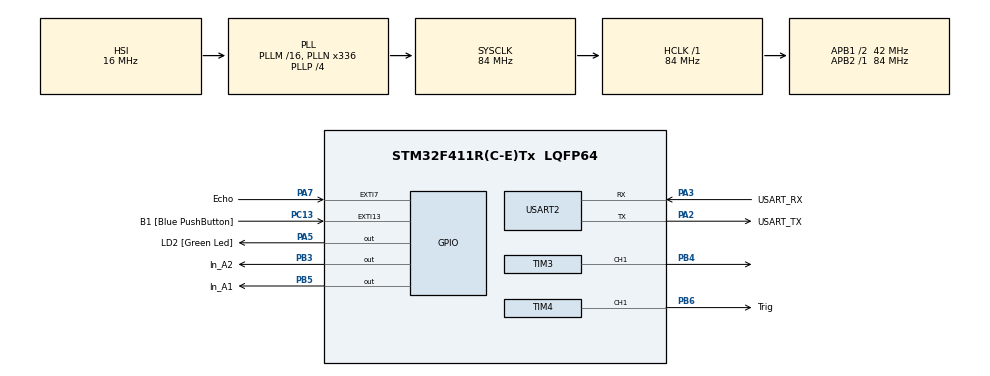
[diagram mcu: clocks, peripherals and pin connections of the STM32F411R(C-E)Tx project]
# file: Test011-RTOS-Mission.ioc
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FREERTOS.BinarySemaphores01=myBinarySem01,Dynamic,NULL
FREERTOS.Tasks01=ctrlMortor,-1,128,ctrlMrt,Default,NULL,Dynamic,NULL,NULL;LD2,-2,128,flashLD2,Default,NULL,Dynamic,NULL,NULL;dispDist,0,512,printDist,Default,NULL,Dynamic,NULL,NULL
FREERTOS.configUSE_NEWLIB_REENTRANT=1
Mcu.Family=STM32F4
Mcu.Name=STM32F411R(C-E)Tx
Mcu.Package=LQFP64
NVIC.EXTI15_10_IRQn=true\:5\:0\:false\:false\:true\:true\:true\:true\:true
NVIC.EXTI9_5_IRQn=true\:5\:0\:false\:false\:true\:true\:true\:true\:true
NVIC.PriorityGroup=NVIC_PRIORITYGROUP_4
NVIC.TIM1_UP_TIM10_IRQn=true\:15\:0\:false\:false\:true\:false\:false\:true\:true
NVIC.TimeBase=TIM1_UP_TIM10_IRQn
NVIC.TimeBaseIP=TIM10
PA13.GPIO_Label=TMS
PA13.Mode=Serial_Wire
PA13.Signal=SYS_JTMS-SWDIO
PA14.GPIO_Label=TCK
PA14.Mode=Serial_Wire
PA14.Signal=SYS_JTCK-SWCLK
PA2.GPIO_Label=USART_TX
PA2.Mode=Asynchronous
PA2.Signal=USART2_TX
PA3.GPIO_Label=USART_RX
PA3.Mode=Asynchronous
PA3.Signal=USART2_RX
PA5.GPIO_Label=LD2 [Green Led]
PA5.Signal=GPIO_Output
PA7.GPIO_Label=Echo
PA7.GPIO_ModeDefaultEXTI=GPIO_MODE_IT_RISING_FALLING
PA7.Signal=GPXTI7
PB3.GPIO_Label=In_A2
PB3.Signal=GPIO_Output
PB4.Signal=S_TIM3_CH1
PB5.GPIO_Label=In_A1
PB5.Signal=GPIO_Output
PB6.GPIO_Label=Trig
PB6.Signal=S_TIM4_CH1
PC13-ANTI_TAMP.GPIO_Label=B1 [Blue PushButton]
PC13-ANTI_TAMP.GPIO_ModeDefaultEXTI=GPIO_MODE_IT_FALLING
PC13-ANTI_TAMP.Signal=GPXTI13
PC14-OSC32_IN.Mode=LSE-External-Oscillator
PC14-OSC32_IN.Signal=RCC_OSC32_IN
PC15-OSC32_OUT.Mode=LSE-External-Oscillator
PC15-OSC32_OUT.Signal=RCC_OSC32_OUT
PH0\ -\ OSC_IN.Mode=HSE-External-Clock-Source
PH0\ -\ OSC_IN.Signal=RCC_OSC_IN
PH1\ -\ OSC_OUT.Mode=HSE-External-Clock-Source
PH1\ -\ OSC_OUT.Signal=RCC_OSC_OUT
ProjectManager.HeapSize=0x200
ProjectManager.StackSize=0x400
ProjectManager.TargetToolchain=STM32CubeIDE
RCC.48MHZClocksFreq_Value=84000000
RCC.AHBFreq_Value=84000000
RCC.APB1CLKDivider=RCC_HCLK_DIV2
RCC.APB1Freq_Value=42000000
RCC.APB1TimFreq_Value=84000000
RCC.APB2Freq_Value=84000000
RCC.APB2TimFreq_Value=84000000
RCC.CortexFreq_Value=84000000
RCC.FLatency-AdvancedSettings=FLASH_LATENCY_2
RCC.HCLKFreq_Value=84000000
RCC.HSE_VALUE=8000000
RCC.HSI_VALUE=16000000
RCC.PLLN=336
RCC.PLLP=RCC_PLLP_DIV4
RCC.SYSCLKFreq_VALUE=84000000
RCC.SYSCLKSource=RCC_SYSCLKSOURCE_PLLCLK
RCC.VCOOutputFreq_Value=336000000
SH.S_TIM3_CH1.0=TIM3_CH1,PWM Generation1 CH1
SH.S_TIM4_CH1.0=TIM4_CH1,PWM Generation1 CH1
TIM2.Prescaler=84-1
TIM3.Channel-PWM\ Generation1\ CH1=TIM_CHANNEL_1
TIM3.Period=1000-1
TIM3.Prescaler=84-1
TIM3.Pulse-PWM\ Generation1\ CH1=1000
TIM4.Channel-PWM\ Generation1\ CH1=TIM_CHANNEL_1
TIM4.Period=60000-1
TIM4.Prescaler=84-1
TIM4.Pulse-PWM\ Generation1\ CH1=10
USART2.VirtualMode=VM_ASYNC
VP_FREERTOS_VS_CMSIS_V1.Mode=CMSIS_V1
VP_SYS_VS_tim10.Mode=TIM10
VP_TIM2_VS_ClockSourceINT.Mode=Internal
board=NUCLEO-F411RE

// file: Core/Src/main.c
/* USER CODE BEGIN Header */
/**
  ******************************************************************************
  * @file           : main.c
  * @brief          : Main program body
  ******************************************************************************
  * @attention
  *
  * Copyright (c) 2025 STMicroelectronics.
  * All rights reserved.
  *
  * This software is licensed under terms that can be found in the LICENSE file
  * in the root directory of this software component.
  * If no LICENSE file comes with this software, it is provided AS-IS.
  *
  ******************************************************************************
  */
/* USER CODE END Header */
#include "main.h"
#include "cmsis_os.h"

TIM_HandleTypeDef htim2;
TIM_HandleTypeDef htim3;
TIM_HandleTypeDef htim4;

UART_HandleTypeDef huart2;

osThreadId ctrlMortorHandle;
osThreadId LD2Handle;
osThreadId dispDistHandle;
osSemaphoreId myBinarySem01Handle;

void SystemClock_Config(void);
static void MX_GPIO_Init(void);
static void MX_USART2_UART_Init(void);
static void MX_TIM4_Init(void);
static void MX_TIM2_Init(void);
static void MX_TIM3_Init(void);
void ctrlMrt(void const * argument);
void flashLD2(void const * argument);
void printDist(void const * argument);

/* USER CODE BEGIN 0 */
int mode = 0;
double dist = 3000;
void HAL_GPIO_EXTI_Callback(uint16_t GPIO_Pin)
{
  switch(GPIO_Pin) {
  case Echo_Pin:
	  if(HAL_GPIO_ReadPin(Echo_GPIO_Port, Echo_Pin)) {
		  htim2.Instance->CNT = 0;
	  }
	  else {
		  if(htim2.Instance->CNT > 60000) {
			  dist = -1;
		  }
		  else {
			  dist = htim2.Instance->CNT * 0.17;
		  }
	  }
	  break;
  case B1_Pin:
	  if(mode) {
		  mode = 0;
	  }
	  else {
		  mode = 1;
	  }
	  break;
  }
}
/* USER CODE END 0 */

int main(void)
{

  /* MCU Configuration--------------------------------------------------------*/

  /* Reset of all peripherals, Initializes the Flash interface and the Systick. */
  HAL_Init();

  /* Configure the system clock */
  SystemClock_Config();

  /* Initialize all configured peripherals */
  MX_GPIO_Init();
  MX_USART2_UART_Init();
  MX_TIM4_Init();
  MX_TIM2_Init();
  MX_TIM3_Init();

  /* Create the semaphores(s) */
  /* definition and creation of myBinarySem01 */
  osSemaphoreDef(myBinarySem01);
  myBinarySem01Handle = osSemaphoreCreate(osSemaphore(myBinarySem01), 1);

  /* Create the thread(s) */
  /* definition and creation of ctrlMortor */
  osThreadDef(ctrlMortor, ctrlMrt, osPriorityBelowNormal, 0, 128);
  ctrlMortorHandle = osThreadCreate(osThread(ctrlMortor), NULL);

  /* definition and creation of LD2 */
  osThreadDef(LD2, flashLD2, osPriorityLow, 0, 128);
  LD2Handle = osThreadCreate(osThread(LD2), NULL);

  /* definition and creation of dispDist */
  osThreadDef(dispDist, printDist, osPriorityNormal, 0, 512);
  dispDistHandle = osThreadCreate(osThread(dispDist), NULL);

  /* USER CODE BEGIN RTOS_THREADS */
  /* add threads, ... */
  ProgramStart("RTOS Mission");
  HAL_TIM_Base_Start(&htim2);
  HAL_TIM_PWM_Start(&htim3, TIM_CHANNEL_1);
  HAL_TIM_PWM_Start(&htim4, TIM_CHANNEL_1);
  htim3.Instance->CCR1 = htim3.Instance->ARR / 4;
  htim4.Instance->CCR1 = 10;

  HAL_GPIO_WritePin(In_A1_GPIO_Port, In_A1_Pin, 1);
  HAL_GPIO_WritePin(In_A2_GPIO_Port, In_A2_Pin, 0);
  /* USER CODE END RTOS_THREADS */

  /* Start scheduler */
  osKernelStart();

  /* We should never get here as control is now taken by the scheduler */
  /* Infinite loop */
  while (1)
  {

  }
}

void SystemClock_Config(void)
{
  RCC_OscInitTypeDef RCC_OscInitStruct = {0};
  RCC_ClkInitTypeDef RCC_ClkInitStruct = {0};

  /** Configure the main internal regulator output voltage
  */
  __HAL_RCC_PWR_CLK_ENABLE();
  __HAL_PWR_VOLTAGESCALING_CONFIG(PWR_REGULATOR_VOLTAGE_SCALE1);

  /** Initializes the RCC Oscillators according to the specified parameters
  * in the RCC_OscInitTypeDef structure.
  */
  RCC_OscInitStruct.OscillatorType = RCC_OSCILLATORTYPE_HSI;
  RCC_OscInitStruct.HSIState = RCC_HSI_ON;
  RCC_OscInitStruct.HSICalibrationValue = RCC_HSICALIBRATION_DEFAULT;
  RCC_OscInitStruct.PLL.PLLState = RCC_PLL_ON;
  RCC_OscInitStruct.PLL.PLLSource = RCC_PLLSOURCE_HSI;
  RCC_OscInitStruct.PLL.PLLM = 16;
  RCC_OscInitStruct.PLL.PLLN = 336;
  RCC_OscInitStruct.PLL.PLLP = RCC_PLLP_DIV4;
  RCC_OscInitStruct.PLL.PLLQ = 4;
  if (HAL_RCC_OscConfig(&RCC_OscInitStruct) != HAL_OK)
  {
    Error_Handler();
  }

  /** Initializes the CPU, AHB and APB buses clocks
  */
  RCC_ClkInitStruct.ClockType = RCC_CLOCKTYPE_HCLK|RCC_CLOCKTYPE_SYSCLK
                              |RCC_CLOCKTYPE_PCLK1|RCC_CLOCKTYPE_PCLK2;
  RCC_ClkInitStruct.SYSCLKSource = RCC_SYSCLKSOURCE_PLLCLK;
  RCC_ClkInitStruct.AHBCLKDivider = RCC_SYSCLK_DIV1;
  RCC_ClkInitStruct.APB1CLKDivider = RCC_HCLK_DIV2;
  RCC_ClkInitStruct.APB2CLKDivider = RCC_HCLK_DIV1;

  if (HAL_RCC_ClockConfig(&RCC_ClkInitStruct, FLASH_LATENCY_2) != HAL_OK)
  {
    Error_Handler();
  }
}

static void MX_TIM2_Init(void)
{

  TIM_ClockConfigTypeDef sClockSourceConfig = {0};
  TIM_MasterConfigTypeDef sMasterConfig = {0};

  htim2.Instance = TIM2;
  htim2.Init.Prescaler = 84-1;
  htim2.Init.CounterMode = TIM_COUNTERMODE_UP;
  htim2.Init.Period = 4294967295;
  htim2.Init.ClockDivision = TIM_CLOCKDIVISION_DIV1;
  htim2.Init.AutoReloadPreload = TIM_AUTORELOAD_PRELOAD_DISABLE;
  if (HAL_TIM_Base_Init(&htim2) != HAL_OK)
  {
    Error_Handler();
  }
  sClockSourceConfig.ClockSource = TIM_CLOCKSOURCE_INTERNAL;
  if (HAL_TIM_ConfigClockSource(&htim2, &sClockSourceConfig) != HAL_OK)
  {
    Error_Handler();
  }
  sMasterConfig.MasterOutputTrigger = TIM_TRGO_RESET;
  sMasterConfig.MasterSlaveMode = TIM_MASTERSLAVEMODE_DISABLE;
  if (HAL_TIMEx_MasterConfigSynchronization(&htim2, &sMasterConfig) != HAL_OK)
  {
    Error_Handler();
  }

}

static void MX_TIM3_Init(void)
{

  TIM_MasterConfigTypeDef sMasterConfig = {0};
  TIM_OC_InitTypeDef sConfigOC = {0};

  htim3.Instance = TIM3;
  htim3.Init.Prescaler = 84-1;
  htim3.Init.CounterMode = TIM_COUNTERMODE_UP;
  htim3.Init.Period = 1000-1;
  htim3.Init.ClockDivision = TIM_CLOCKDIVISION_DIV1;
  htim3.Init.AutoReloadPreload = TIM_AUTORELOAD_PRELOAD_DISABLE;
  if (HAL_TIM_PWM_Init(&htim3) != HAL_OK)
  {
    Error_Handler();
  }
  sMasterConfig.MasterOutputTrigger = TIM_TRGO_RESET;
  sMasterConfig.MasterSlaveMode = TIM_MASTERSLAVEMODE_DISABLE;
  if (HAL_TIMEx_MasterConfigSynchronization(&htim3, &sMasterConfig) != HAL_OK)
  {
    Error_Handler();
  }
  sConfigOC.OCMode = TIM_OCMODE_PWM1;
  sConfigOC.Pulse = 1000;
  sConfigOC.OCPolarity = TIM_OCPOLARITY_HIGH;
  sConfigOC.OCFastMode = TIM_OCFAST_DISABLE;
  if (HAL_TIM_PWM_ConfigChannel(&htim3, &sConfigOC, TIM_CHANNEL_1) != HAL_OK)
  {
    Error_Handler();
  }
  HAL_TIM_MspPostInit(&htim3);

}

static void MX_TIM4_Init(void)
{

  TIM_MasterConfigTypeDef sMasterConfig = {0};
  TIM_OC_InitTypeDef sConfigOC = {0};

  htim4.Instance = TIM4;
  htim4.Init.Prescaler = 84-1;
  htim4.Init.CounterMode = TIM_COUNTERMODE_UP;
  htim4.Init.Period = 60000-1;
  htim4.Init.ClockDivision = TIM_CLOCKDIVISION_DIV1;
  htim4.Init.AutoReloadPreload = TIM_AUTORELOAD_PRELOAD_DISABLE;
  if (HAL_TIM_PWM_Init(&htim4) != HAL_OK)
  {
    Error_Handler();
  }
  sMasterConfig.MasterOutputTrigger = TIM_TRGO_RESET;
  sMasterConfig.MasterSlaveMode = TIM_MASTERSLAVEMODE_DISABLE;
  if (HAL_TIMEx_MasterConfigSynchronization(&htim4, &sMasterConfig) != HAL_OK)
  {
    Error_Handler();
  }
  sConfigOC.OCMode = TIM_OCMODE_PWM1;
  sConfigOC.Pulse = 10;
  sConfigOC.OCPolarity = TIM_OCPOLARITY_HIGH;
  sConfigOC.OCFastMode = TIM_OCFAST_DISABLE;
  if (HAL_TIM_PWM_ConfigChannel(&htim4, &sConfigOC, TIM_CHANNEL_1) != HAL_OK)
  {
    Error_Handler();
  }
  HAL_TIM_MspPostInit(&htim4);

}

static void MX_USART2_UART_Init(void)
{

  huart2.Instance = USART2;
  huart2.Init.BaudRate = 115200;
  huart2.Init.WordLength = UART_WORDLENGTH_8B;
  huart2.Init.StopBits = UART_STOPBITS_1;
  huart2.Init.Parity = UART_PARITY_NONE;
  huart2.Init.Mode = UART_MODE_TX_RX;
  huart2.Init.HwFlowCtl = UART_HWCONTROL_NONE;
  huart2.Init.OverSampling = UART_OVERSAMPLING_16;
  if (HAL_UART_Init(&huart2) != HAL_OK)
  {
    Error_Handler();
  }

}

static void MX_GPIO_Init(void)
{
  GPIO_InitTypeDef GPIO_InitStruct = {0};

  /* GPIO Ports Clock Enable */
  __HAL_RCC_GPIOC_CLK_ENABLE();
  __HAL_RCC_GPIOH_CLK_ENABLE();
  __HAL_RCC_GPIOA_CLK_ENABLE();
  __HAL_RCC_GPIOB_CLK_ENABLE();

  /*Configure GPIO pin Output Level */
  HAL_GPIO_WritePin(LD2_GPIO_Port, LD2_Pin, GPIO_PIN_RESET);

  /*Configure GPIO pin Output Level */
  HAL_GPIO_WritePin(GPIOB, In_A2_Pin|In_A1_Pin, GPIO_PIN_RESET);

  /*Configure GPIO pin : B1_Pin */
  GPIO_InitStruct.Pin = B1_Pin;
  GPIO_InitStruct.Mode = GPIO_MODE_IT_FALLING;
  GPIO_InitStruct.Pull = GPIO_NOPULL;
  HAL_GPIO_Init(B1_GPIO_Port, &GPIO_InitStruct);

  /*Configure GPIO pin : LD2_Pin */
  GPIO_InitStruct.Pin = LD2_Pin;
  GPIO_InitStruct.Mode = GPIO_MODE_OUTPUT_PP;
  GPIO_InitStruct.Pull = GPIO_NOPULL;
  GPIO_InitStruct.Speed = GPIO_SPEED_FREQ_LOW;
  HAL_GPIO_Init(LD2_GPIO_Port, &GPIO_InitStruct);

  /*Configure GPIO pin : Echo_Pin */
  GPIO_InitStruct.Pin = Echo_Pin;
  GPIO_InitStruct.Mode = GPIO_MODE_IT_RISING_FALLING;
  GPIO_InitStruct.Pull = GPIO_NOPULL;
  HAL_GPIO_Init(Echo_GPIO_Port, &GPIO_InitStruct);

  /*Configure GPIO pins : In_A2_Pin In_A1_Pin */
  GPIO_InitStruct.Pin = In_A2_Pin|In_A1_Pin;
  GPIO_InitStruct.Mode = GPIO_MODE_OUTPUT_PP;
  GPIO_InitStruct.Pull = GPIO_NOPULL;
  GPIO_InitStruct.Speed = GPIO_SPEED_FREQ_LOW;
  HAL_GPIO_Init(GPIOB, &GPIO_InitStruct);

  /* EXTI interrupt init*/
  HAL_NVIC_SetPriority(EXTI9_5_IRQn, 5, 0);
  HAL_NVIC_EnableIRQ(EXTI9_5_IRQn);

  HAL_NVIC_SetPriority(EXTI15_10_IRQn, 5, 0);
  HAL_NVIC_EnableIRQ(EXTI15_10_IRQn);

}

void ctrlMrt(void const * argument)
{
	int a1, a2;
  /* USER CODE BEGIN 5 */
  /* Infinite loop */
  for(;;)
  {
	  if(osSemaphoreWait(myBinarySem01Handle, 0) == osOK) {
		  /*if(dist == -1) {
			  HAL_GPIO_WritePin(In1_GPIO_Port, In1_Pin, 0);
			  HAL_GPIO_WritePin(In2_GPIO_Port, In2_Pin, 0);
			  HAL_GPIO_WritePin(In3_GPIO_Port, In3_Pin, 0);
			  HAL_GPIO_WritePin(In4_GPIO_Port, In4_Pin, 0);
			  HAL_Delay(5);
		  }
		  else if(dist < 150.0) {
			  int degree = (dist > 50.0) ? 1 : 2;
			  for(int i = 0; i < 64 * degree; i++) {
				  HAL_GPIO_WritePin(In1_GPIO_Port, In1_Pin, 1);
				  HAL_GPIO_WritePin(In2_GPIO_Port, In2_Pin, 0);
				  HAL_GPIO_WritePin(In3_GPIO_Port, In3_Pin, 0);
				  HAL_GPIO_WritePin(In4_GPIO_Port, In4_Pin, 0);
				  HAL_Delay(5);

				  HAL_GPIO_WritePin(In1_GPIO_Port, In1_Pin, 0);
				  HAL_GPIO_WritePin(In2_GPIO_Port, In2_Pin, 1);
				  HAL_GPIO_WritePin(In3_GPIO_Port, In3_Pin, 0);
				  HAL_GPIO_WritePin(In4_GPIO_Port, In4_Pin, 0);
				  HAL_Delay(5);

				  HAL_GPIO_WritePin(In1_GPIO_Port, In1_Pin, 0);
				  HAL_GPIO_WritePin(In2_GPIO_Port, In2_Pin, 0);
				  HAL_GPIO_WritePin(In3_GPIO_Port, In3_Pin, 1);
				  HAL_GPIO_WritePin(In4_GPIO_Port, In4_Pin, 0);
				  HAL_Delay(5);

				  HAL_GPIO_WritePin(In1_GPIO_Port, In1_Pin, 0);
				  HAL_GPIO_WritePin(In2_GPIO_Port, In2_Pin, 0);
				  HAL_GPIO_WritePin(In3_GPIO_Port, In3_Pin, 0);
				  HAL_GPIO_WritePin(In4_GPIO_Port, In4_Pin, 1);
				  HAL_Delay(5);
			  }
		  }
		  else {
			  HAL_GPIO_WritePin(In1_GPIO_Port, In1_Pin, 0);
			  HAL_GPIO_WritePin(In2_GPIO_Port, In2_Pin, 0);
			  HAL_GPIO_WritePin(In3_GPIO_Port, In3_Pin, 0);
			  HAL_GPIO_WritePin(In4_GPIO_Port, In4_Pin, 0);
			  HAL_Delay(5);
		  }*/

		  if(dist == -1) {

		  }
		  else if(dist < 150.0) {
			  HAL_GPIO_WritePin(In_A1_GPIO_Port, In_A1_Pin, 1);
			  HAL_GPIO_WritePin(In_A2_GPIO_Port, In_A2_Pin, 1);
		  }
		  else {
			  if(mode){
				  HAL_GPIO_WritePin(In_A1_GPIO_Port, In_A1_Pin, 1);
				  HAL_GPIO_WritePin(In_A2_GPIO_Port, In_A2_Pin, 0);
			  }
			  else {
				  HAL_GPIO_WritePin(In_A1_GPIO_Port, In_A1_Pin, 0);
				  HAL_GPIO_WritePin(In_A2_GPIO_Port, In_A2_Pin, 1);
			  }
		  }
		  osSemaphoreRelease(myBinarySem01Handle);
	  }
    osDelay(50);
  }
  /* USER CODE END 5 */
}

void flashLD2(void const * argument)
{
  /* USER CODE BEGIN flashLD2 */
  /* Infinite loop */
  for(;;)
  {
	  if(osSemaphoreWait(myBinarySem01Handle, 0) == osOK) {
		  HAL_GPIO_TogglePin(LD2_GPIO_Port, LD2_Pin);
		  osSemaphoreRelease(myBinarySem01Handle);
	  }
    osDelay(50);
  }
  /* USER CODE END flashLD2 */
}

void printDist(void const * argument)
{
  /* USER CODE BEGIN printDist */
  /* Infinite loop */
  for(;;)
  {
	  if(osSemaphoreWait(myBinarySem01Handle, 0) == osOK) {
		  Cursor(20, 10);
		  printf("distance: %6.2fmm             \r\n", dist);
		  osSemaphoreRelease(myBinarySem01Handle);
	  }
    osDelay(50);
  }
  /* USER CODE END printDist */
}

void HAL_TIM_PeriodElapsedCallback(TIM_HandleTypeDef *htim)
{
  if (htim->Instance == TIM10) {
    HAL_IncTick();
  }
}

void Error_Handler(void)
{
  __disable_irq();
  while (1)
  {
  }
}
